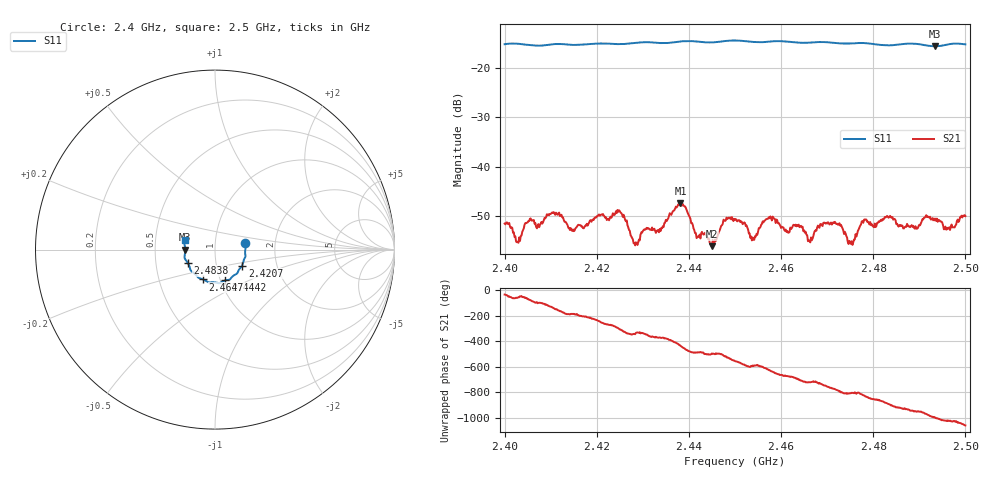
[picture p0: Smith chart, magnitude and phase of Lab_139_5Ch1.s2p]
# Hz S RI R 50
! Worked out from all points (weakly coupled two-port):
!   601 points, 2.4 GHz to 2.5 GHz, reference 50 ohm
!   highest |S21| = -47.32 dB at 2.4382 GHz (marker M1); lowest = -56.0 dB at 2.445 GHz (marker M2)
!   lowest |S11| = -15.6 dB at 2.4933 GHz (marker M3), VSWR 1.40, Z = 35.8 - j0.0385 ohm
!   |S11| at or under -10 dB: start of sweep to end of sweep
!   S12 and S22 are empty: the file has one direction only
!   S11 on the Smith chart (normalised r, x): 2.4 GHz: 1.40, +0.11; 2.4207 GHz: 1.33, -0.24; 2.4442 GHz: 1.05, -0.37; 2.4647 GHz: 0.83, -0.29; 2.4838 GHz: 0.73, -0.11; 2.5 GHz: 0.71, +0.08
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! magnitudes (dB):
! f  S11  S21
! 2.4 GHz  -15.2  -51.5
! 2.4028 GHz  -15.1  -55.2
! 2.4103 GHz  -15.2  -49.2
! 2.4167 GHz  -15.3  -52.1
! 2.4207 GHz  -15.1  -49.9
! 2.425 GHz  -15.2  -49.0
! 2.4285 GHz  -14.9  -55.3
! 2.4333 GHz  -15.0  -52.8
! 2.4382 GHz  -14.7  -47.3
! 2.4442 GHz  -14.9  -54.6
! 2.445 GHz  -14.8  -56.0
! 2.45 GHz  -14.5  -50.6
! 2.4538 GHz  -14.7  -54.3
! 2.4573 GHz  -14.7  -50.2
! 2.4647 GHz  -14.9  -52.1
! 2.4667 GHz  -14.9  -54.8
! 2.4717 GHz  -15.0  -51.1
! 2.4752 GHz  -15.1  -55.6
! 2.4833 GHz  -15.5  -50.3
! 2.4838 GHz  -15.4  -50.2
! 2.4933 GHz  -15.6  -50.8
! 2.5 GHz  -15.2  -49.9
